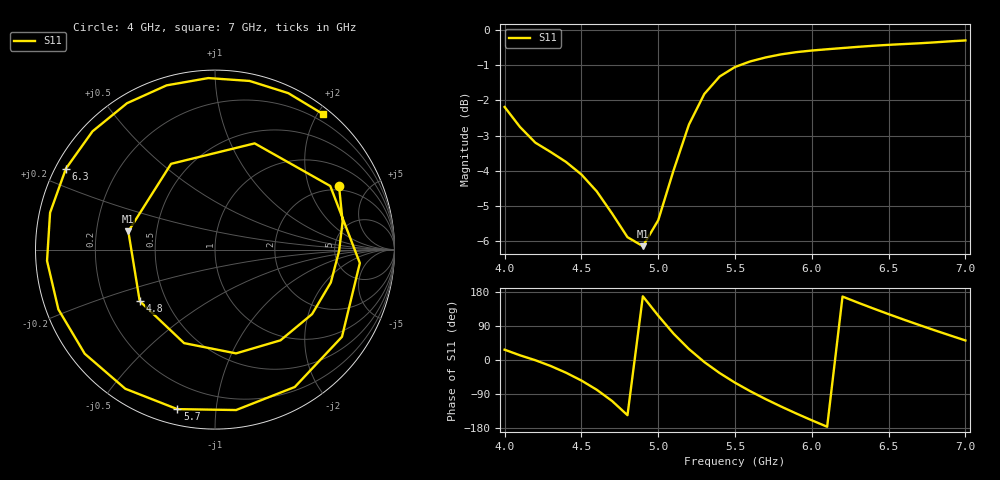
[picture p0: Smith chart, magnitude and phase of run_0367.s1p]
! Touchstone file exported from HFSS 2024.2.0
!  File:  C:/Users/wsak9/Desktop/Sim Fast/Widenad Patch/WP_AI_V1_sweep.aedt
!  Generated:  06:37:49 AM Oct 14, 2026
!  Design:  A1_model
!  Project:  WP_AI_V1_sweep
!  Setup:  Setup1
!  Solution:  Sweep
! Variables:
!  Air_gap = 3.83mm
!  Curve_Amp1 = 0.86
!  Curve_len1 = 1
!  Curve_pos = 12.15mm
!  Extra = 5.9mm
!  H_sub = 0.79mm
!  L_Patch = 20.3mm
!  L_Patch1 = 20.95mm
!  Sx = 2.98mm
!  Sy = 1.72mm
!  WS = 1.26mm
!  W_Patch = 17.08mm
!  W_Patch1 = 15.05mm
!Data is not renormalized
# GHz S MA
! Terminal data exported
! Port[1] = 1
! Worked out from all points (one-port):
!   31 points, 4 GHz to 7 GHz, reference per port
!   lowest |S11| = -6.1 dB at 4.9 GHz (marker M1), VSWR 2.95
!   |S11| at or under -10 dB: nowhere
!   S11 on the Smith chart (normalised r, x): 4 GHz: 1.79, +3.20; 4.8 GHz: 0.35, -0.27; 5.7 GHz: 0.07, -0.79; 6.3 GHz: 0.03, +0.25; 7 GHz: 0.09, +2.07
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4  0.7769 27.2
4.2  0.6916 -0.6
4.3  0.6708 -15.8
4.4  0.6494 -33.6
4.5  0.6234 -54.2
4.6  0.59 -78.5
4.7  0.5488 -108.3
4.8  0.5081 -145.6
4.9  0.4935 168.1
5  0.5369 117.1
5.1  0.6318 69.5
5.2  0.7335 28.9
5.3  0.8105 -5.3
5.4  0.8582 -34.5
5.5  0.8852 -59.8
5.6  0.9016 -82.5
5.7  0.9133 -103.3
5.8  0.9224 -122.8
5.9  0.9292 -141.4
6  0.934 -159.1
6.1  0.9379 -176.2
6.2  0.9416 167.4
6.3  0.9453 151.5
6.5  0.9515 121.0
6.6  0.954 106.4
6.7  0.9564 92.2
6.8  0.9592 78.4
7  0.9652 51.6
